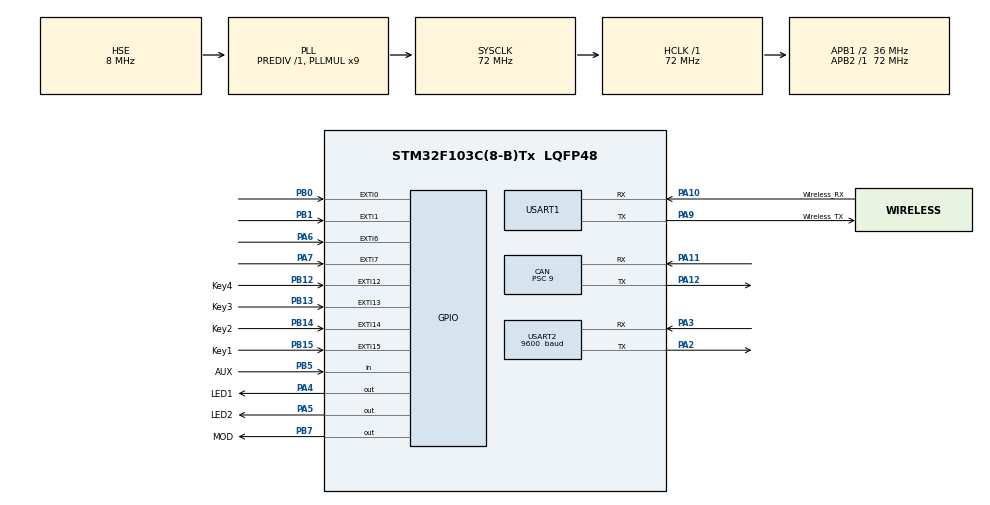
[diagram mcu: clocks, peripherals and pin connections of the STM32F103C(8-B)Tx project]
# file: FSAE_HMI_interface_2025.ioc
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CAN.BS1=CAN_BS1_5TQ
CAN.BS2=CAN_BS2_2TQ
CAN.CalculateBaudRate=500000
CAN.CalculateTimeBit=2000
CAN.CalculateTimeQuantum=250.0
CAN.Prescaler=9
Mcu.Family=STM32F1
Mcu.Name=STM32F103C(8-B)Tx
Mcu.Package=LQFP48
NVIC.CAN1_RX1_IRQn=true\:0\:0\:false\:false\:true\:true\:true\:true
NVIC.EXTI0_IRQn=true\:0\:0\:false\:false\:true\:true\:true\:true
NVIC.EXTI1_IRQn=true\:0\:0\:false\:false\:true\:true\:true\:true
NVIC.EXTI9_5_IRQn=true\:0\:0\:false\:false\:true\:true\:true\:true
NVIC.PriorityGroup=NVIC_PRIORITYGROUP_4
NVIC.TIM4_IRQn=true\:0\:0\:true\:false\:true\:true\:true\:true
NVIC.USART1_IRQn=true\:1\:0\:true\:false\:true\:true\:true\:true
NVIC.USART2_IRQn=true\:2\:0\:true\:false\:true\:true\:true\:true
NVIC.USB_LP_CAN1_RX0_IRQn=true\:0\:0\:false\:false\:true\:true\:true\:true
PA10.GPIO_Label=Wireless_RX
PA10.Mode=Asynchronous
PA10.Signal=USART1_RX
PA11.Mode=CAN_Activate
PA11.Signal=CAN_RX
PA12.Mode=CAN_Activate
PA12.Signal=CAN_TX
PA13.Mode=Serial_Wire
PA13.Signal=SYS_JTMS-SWDIO
PA14.Mode=Serial_Wire
PA14.Signal=SYS_JTCK-SWCLK
PA2.Mode=Asynchronous
PA2.Signal=USART2_TX
PA3.Mode=Asynchronous
PA3.Signal=USART2_RX
PA4.GPIO_Label=LED1
PA4.PinState=GPIO_PIN_SET
PA4.Signal=GPIO_Output
PA5.GPIO_Label=LED2
PA5.PinState=GPIO_PIN_SET
PA5.Signal=GPIO_Output
PA6.Signal=GPXTI6
PA7.Signal=GPXTI7
PA9.GPIO_Label=Wireless_TX
PA9.Mode=Asynchronous
PA9.Signal=USART1_TX
PB0.Signal=GPXTI0
PB1.Signal=GPXTI1
PB12.GPIO_Label=Key4
PB12.Signal=GPXTI12
PB13.GPIO_Label=Key3
PB13.Signal=GPXTI13
PB14.GPIO_Label=Key2
PB14.Signal=GPXTI14
PB15.GPIO_Label=Key1
PB15.Signal=GPXTI15
PB5.GPIO_Label=AUX
PB5.Signal=GPIO_Input
PB7.GPIO_Label=MOD
PB7.Signal=GPIO_Output
PC14-OSC32_IN.Mode=LSE-External-Oscillator
PC14-OSC32_IN.Signal=RCC_OSC32_IN
PC15-OSC32_OUT.Mode=LSE-External-Oscillator
PC15-OSC32_OUT.Signal=RCC_OSC32_OUT
PD0-OSC_IN.Mode=HSE-External-Oscillator
PD0-OSC_IN.Signal=RCC_OSC_IN
PD1-OSC_OUT.Mode=HSE-External-Oscillator
PD1-OSC_OUT.Signal=RCC_OSC_OUT
ProjectManager.HeapSize=0x200
ProjectManager.StackSize=0x400
ProjectManager.TargetToolchain=STM32CubeIDE
RCC.ADCPresc=RCC_ADCPCLK2_DIV6
RCC.AHBFreq_Value=72000000
RCC.APB1CLKDivider=RCC_HCLK_DIV2
RCC.APB1Freq_Value=36000000
RCC.APB1TimFreq_Value=72000000
RCC.APB2Freq_Value=72000000
RCC.APB2TimFreq_Value=72000000
RCC.HCLKFreq_Value=72000000
RCC.PLLMUL=RCC_PLL_MUL9
RCC.PLLSourceVirtual=RCC_PLLSOURCE_HSE
RCC.SYSCLKFreq_VALUE=72000000
RCC.SYSCLKSource=RCC_SYSCLKSOURCE_PLLCLK
RCC.USBFreq_Value=72000000
TIM4.Period=7199
USART1.VirtualMode=VM_ASYNC
USART2.BaudRate=9600 
USART2.VirtualMode=VM_ASYNC
VP_TIM4_VS_ClockSourceINT.Mode=Internal
board=custom

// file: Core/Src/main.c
/* USER CODE BEGIN Header */
/**
  ******************************************************************************
  * @file           : main.c
  * @brief          : Main program body
  ******************************************************************************
  * @attention
  *
  * Copyright (c) 2024 STMicroelectronics.
  * All rights reserved.
  *
  * This software is licensed under terms that can be found in the LICENSE file
  * in the root directory of this software component.
  * If no LICENSE file comes with this software, it is provided AS-IS.
  *
  * 锟斤拷锟斤拷锟斤拷锟斤拷锟斤拷锟斤拷
  * shaoqi 2024.8.21 锟斤拷锟斤拷说锟斤拷
  * 锟斤拷锟侥匡拷模锟絀nterface 锟斤拷频锟侥匡拷锟斤拷锟轿拷锟斤拷锟斤拷惴斤拷锟斤拷炭锟斤拷倏刹锟斤拷
  * 实锟斤拷原锟斤拷锟斤拷锟斤拷锟斤拷锟教诧拷片锟斤拷锟截碉拷锟脚猴拷通锟斤拷锟斤拷锟斤拷锟斤拷锟酵碉拷锟斤拷示锟斤拷锟斤拷锟接讹拷锟斤拷锟斤拷锟斤拷示锟斤拷锟斤拷示锟斤拷锟斤拷
  * 锟斤拷锟斤拷锟斤拷锟斤拷锟斤拷锟斤拷
  *
  ******************************************************************************
  */
/* USER CODE END Header */
#include "main.h"
#include "can.h"
#include "tim.h"
#include "usart.h"
#include "gpio.h"

/* USER CODE BEGIN Includes */
#include "stdio.h"
#include "string.h"
#include "atk_mw1278d.h"
#include "atk_mw1278d_uart.h"
#include "demo.h"
#include"delay.h"
#include "Locate.h"
/* USER CODE END Includes */

/* USER CODE BEGIN PTD */
//HAL_StatusTypeDef HAL_UART_Receive(UART_HandleTypeDef *huart, uint8_t *pData, uint16_t Size, uint32_t Timeout);
//HAL_StatusTypeDef HAL_UART_Transmit(UART_HandleTypeDef *huart, uint8_t *pData, uint16_t Size, uint32_t Timeout);
/* USER CODE END PTD */

/* USER CODE BEGIN PD */
#define FALSE 0
#define TRUE 1
/* USER CODE END PD */

/* USER CODE BEGIN PV */
int speed = 999;      //锟斤拷锟斤拷锟劫讹拷
int SOC = 100;        //锟斤拷氐锟斤拷锟斤拷
int Mode_Index = 0;   //锟斤拷驶模式锟斤拷锟斤拷
int P_FL=0;           //锟斤拷前锟斤拷锟斤拷
int P_FR=0;           //锟斤拷前锟斤拷锟斤拷
int P_RL=0;           //锟斤拷锟斤拷锟�
int P_RR=0;           //锟揭猴拷锟斤拷
int Sum_Voltage=0;           //锟杰碉拷压
int Top_Temperature=0;           //锟斤拷锟斤拷锟斤拷锟斤拷露锟�
int Sum_I=0;
extern uint8_t UART2_RX_Buffer[50];
//extern uint8_t UART1_RX_Buffer = 0;
/* USER CODE END PV */

void SystemClock_Config(void);

/* USER CODE BEGIN 0 */
int flag=0;
uint8_t Rxbuf[10];
uint8_t RxFlag = 0;
/* USER CODE END 0 */

int main(void)
{

  /* MCU Configuration--------------------------------------------------------*/

  /* Reset of all peripherals, Initializes the Flash interface and the Systick. */
  HAL_Init();

  /* Configure the system clock */
  SystemClock_Config();

  /* Initialize all configured peripherals */
  MX_GPIO_Init();
  MX_USART1_UART_Init();
  MX_USART2_UART_Init();
  MX_CAN_Init();
  MX_TIM4_Init();
  /* USER CODE BEGIN 2 */

  CAN_Filter_Config_TXOnly(); // 只发不收过滤器配置
  HAL_CAN_Start(&hcan);       // 启动 can
  //HAL_UART_Receive_IT(&huart2, (uint8_t *)Rxbuf, 10);    // 使锟杰达拷锟节斤拷锟斤拷锟叫讹拷
  //wireless sent settings
  sys_stm32_clock_init(RCC_PLL_MUL9); /* 设置时钟, 72Mhz */
  delay_init(72);                     /* 延时初始化 */
  atk_mw1278d_init(115200);
  // usart_init(115200);                 /* 串口初始化为115200 */
  // demo_run();                         /* 运行示例程序 */
  HAL_Delay(1000);

  /* GNSS 模块配置握手 */
  {
      // const char* cmds[] = {"GNGGA 0.1\r\n", "GNRMC 0.1\r\n"};
      const char* cmds[] = {
        "GNRMC 0.1\r\n",
        "CONFIG HEADING VARIABLELENGTH\r\n",
        "MODE ROVER AUTOMOTIVE DEFAULT\r\n"
      };
      uint8_t gnss_ok = 1;

      //for(int cmd_idx = 0; cmd_idx < 2; cmd_idx++)
      for(int cmd_idx = 0; cmd_idx < 3; cmd_idx++)
      {
          uint8_t ack = 0;
          for(int retry = 0; retry < GNSS_CMD_RETRY; retry++)
          {
              uart2_got_ok = 0;
              HAL_UART_Transmit(&huart2, (uint8_t*)cmds[cmd_idx], strlen(cmds[cmd_idx]), HAL_MAX_DELAY);
              /* delay_init 已关闭SysTick中断，HAL_GetTick()失效，改用delay_ms()分次轮询 */
              for(int wait = 0; wait < GNSS_CMD_TIMEOUT / 100; wait++)
              {
                  delay_ms(100);
                  if(uart2_got_ok){ack = 1; break;}
              }
              if(ack) break;
          }
          if(!ack){gnss_ok = 0; break;}
      }
      if(!gnss_ok){atk_mw1278d_uart_printf("GNSS_Error\r\n");}
  }
  /* USER CODE END 2 */

  /* Infinite loop */
  /* USER CODE BEGIN WHILE */
  // shaoqi
  // 锟斤拷锟斤拷锟竭硷拷:锟斤拷锟斤拷锟斤拷锟斤拷锟酵拷锟斤拷锟斤拷锟斤拷锟斤拷锟�"0"锟斤拷
  // 锟斤拷锟斤拷锟斤拷锟絢ey1锟斤拷锟斤拷"1"
  // 锟斤拷锟斤拷锟斤拷锟絢ey2锟斤拷锟斤拷"2"

  while (1)
  {
	  HAL_GPIO_TogglePin(GPIOA, GPIO_PIN_4);
//	  HAL_GPIO_TogglePin(GPIOB, GPIO_PIN_1);
	  HAL_GPIO_TogglePin(GPIOA, GPIO_PIN_5);

      /* GNSS 新数据打印(在主循环中执行，不阻塞中断) */
      if(uart2_data_ready)
      {
          uart2_data_ready = 0;
          GNSS_Data_t GNSS_Data;
          get_gnss_data(&GNSS_Data);
          send_gnss_data_uart1(&GNSS_Data);

          /* 通过 CAN 发送 GNSS 速度信息 (ID:0x301, km/h*10 -> uint16) */
          /* 通过 CAN 发送 GNSS 速度信息 (ID:0x301, 1:1无缩放 -> uint16) */
          uint8_t can_data[2] = {0}; // DBC中定义该报文长度为2字节，用8或2都可以，但2更严谨

          // 保留两位小数：乘以100后再取整，左移两位小数
          uint16_t speed_val = (uint16_t)(GNSS_Data.speed_kmh * 100.0f + 0.5f);

          // Intel 格式（小端模式）拆分：低字节在前，高字节在后
          can_data[0] = speed_val & 0xFF;         // 低 8 位
          can_data[1] = (speed_val >> 8) & 0xFF;  // 高 8 位
          User_CAN_Send_sq(0x41, can_data);

          /* 通过 CAN 发送 GNSS 经纬度信息
           * ID:0x42 -> 纬度 (int64, 度*10^8, 小端, 8字节)
           * ID:0x43 -> 经度 (int64, 度*10^8, 小端, 8字节)
           */
          {
              uint8_t can_lat[8] = {0}, can_lon[8] = {0};
              int64_t lat_val = (int64_t)(GNSS_Data.latitude * 100000000.0);
              int64_t lon_val = (int64_t)(GNSS_Data.longitude * 100000000.0);

              can_lat[0] = (uint8_t)( lat_val        & 0xFF);
              can_lat[1] = (uint8_t)((lat_val >> 8)  & 0xFF);
              can_lat[2] = (uint8_t)((lat_val >> 16) & 0xFF);
              can_lat[3] = (uint8_t)((lat_val >> 24) & 0xFF);
              can_lat[4] = (uint8_t)((lat_val >> 32) & 0xFF);
              can_lat[5] = (uint8_t)((lat_val >> 40) & 0xFF);
              can_lat[6] = (uint8_t)((lat_val >> 48) & 0xFF);
              can_lat[7] = (uint8_t)((lat_val >> 56) & 0xFF);

              can_lon[0] = (uint8_t)( lon_val        & 0xFF);
              can_lon[1] = (uint8_t)((lon_val >> 8)  & 0xFF);
              can_lon[2] = (uint8_t)((lon_val >> 16) & 0xFF);
              can_lon[3] = (uint8_t)((lon_val >> 24) & 0xFF);
              can_lon[4] = (uint8_t)((lon_val >> 32) & 0xFF);
              can_lon[5] = (uint8_t)((lon_val >> 40) & 0xFF);
              can_lon[6] = (uint8_t)((lon_val >> 48) & 0xFF);
              can_lon[7] = (uint8_t)((lon_val >> 56) & 0xFF);

              User_CAN_Send_sq(0x42, can_lat);
              User_CAN_Send_sq(0x43, can_lon);
          }
      }

 //锟饺达拷,锟斤拷止锟斤拷锟斤拷锟斤拷锟斤拷jly)
    /* USER CODE END WHILE */

    /* USER CODE BEGIN 3 */
	HAL_Delay(173);
  }
  /* USER CODE END 3 */
}

void SystemClock_Config(void)
{
  RCC_OscInitTypeDef RCC_OscInitStruct = {0};
  RCC_ClkInitTypeDef RCC_ClkInitStruct = {0};

  /** Initializes the RCC Oscillators according to the specified parameters
  * in the RCC_OscInitTypeDef structure.
  */
  RCC_OscInitStruct.OscillatorType = RCC_OSCILLATORTYPE_HSE;
  RCC_OscInitStruct.HSEState = RCC_HSE_ON;
  RCC_OscInitStruct.HSEPredivValue = RCC_HSE_PREDIV_DIV1;
  RCC_OscInitStruct.HSIState = RCC_HSI_ON;
  RCC_OscInitStruct.PLL.PLLState = RCC_PLL_ON;
  RCC_OscInitStruct.PLL.PLLSource = RCC_PLLSOURCE_HSE;
  RCC_OscInitStruct.PLL.PLLMUL = RCC_PLL_MUL9;
  if (HAL_RCC_OscConfig(&RCC_OscInitStruct) != HAL_OK)
  {
    Error_Handler();
  }

  /** Initializes the CPU, AHB and APB buses clocks
  */
  RCC_ClkInitStruct.ClockType = RCC_CLOCKTYPE_HCLK|RCC_CLOCKTYPE_SYSCLK
                              |RCC_CLOCKTYPE_PCLK1|RCC_CLOCKTYPE_PCLK2;
  RCC_ClkInitStruct.SYSCLKSource = RCC_SYSCLKSOURCE_PLLCLK;
  RCC_ClkInitStruct.AHBCLKDivider = RCC_SYSCLK_DIV1;
  RCC_ClkInitStruct.APB1CLKDivider = RCC_HCLK_DIV2;
  RCC_ClkInitStruct.APB2CLKDivider = RCC_HCLK_DIV1;

  if (HAL_RCC_ClockConfig(&RCC_ClkInitStruct, FLASH_LATENCY_2) != HAL_OK)
  {
    Error_Handler();
  }
}

/* USER CODE BEGIN 4 */
//int fputc(int ch, FILE*f)
//{
//	uint8_t temp[1] = {ch};
//	//锟斤拷询锟斤拷锟斤拷1锟街斤拷锟斤拷锟斤拷
//	HAL_UART_Transmit(&huart1,temp,1,2);
//	return ch;
//}
//int fgetc(FILE *f)
//{
//	uint8_t ch;
//	// 锟斤拷锟斤拷锟斤拷询锟斤拷式锟斤拷锟斤拷 1锟街斤拷锟斤拷锟捷ｏ拷锟斤拷时时锟斤拷锟斤拷锟斤拷为锟斤拷锟睫等达拷
//	HAL_UART_Receive( &huart1,(uint8_t*)&ch,1, HAL_MAX_DELAY );
//
//	return ch;
//}

/* USER CODE END 4 */

void Error_Handler(void)
{
  __disable_irq();
  while (1)
  {
  }
}
